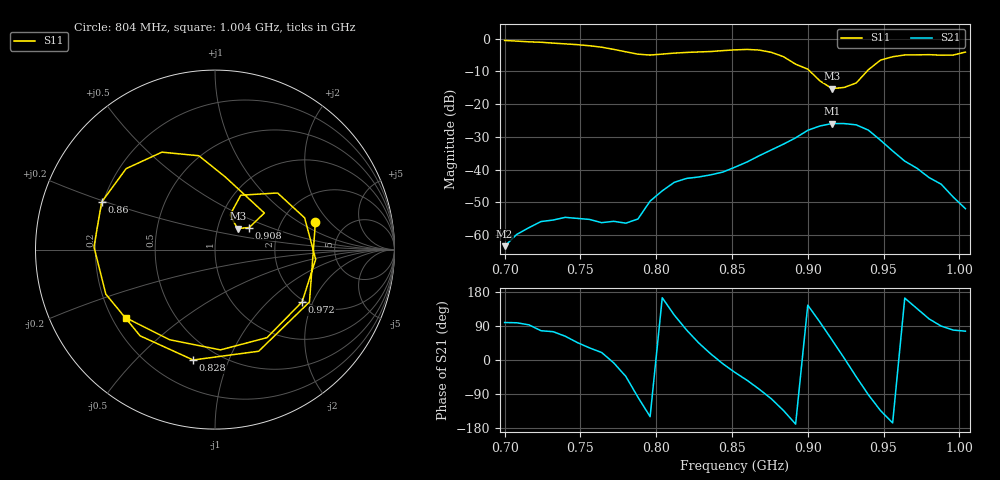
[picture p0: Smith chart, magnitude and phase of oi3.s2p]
# Hz S RI R 50
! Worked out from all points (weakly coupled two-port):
!   39 points, 700 MHz to 1.004 GHz, reference 50 ohm
!   highest |S21| = -25.92 dB at 916 MHz (marker M1); lowest = -63.4 dB at 700 MHz (marker M2)
!   lowest |S11| = -15.3 dB at 916 MHz (marker M3), VSWR 1.42, Z = 62.4 + j15.1 ohm
!   |S11| at or under -10 dB: 901.5 MHz to 939 MHz (37.45 MHz wide, 4.07 % of centre)
!   S12 and S22 are empty: the file has one direction only
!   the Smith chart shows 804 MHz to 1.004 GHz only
!   S11 on the Smith chart (normalised r, x): 804 MHz: 3.04, +1.42; 828 MHz: 0.37, -0.75; 860 MHz: 0.19, +0.19; 908 MHz: 1.42, +0.37; 972 MHz: 1.94, -1.67; 1.004 GHz: 0.26, -0.32
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7e8  0.76 0.5517  -0.000105 0.000668  0 0  0 0
7.24e8  0.8471 -0.2443  0.000355 0.00157  0 0  0 0
7.4e8  0.4545 -0.6977  0.000854 0.00166  0 0  0 0
7.56e8  -0.1886 -0.7566  0.00147 0.000918  0 0  0 0
7.72e8  -0.6572 -0.1964  0.00161 -0.000214  0 0  0 0
7.8e8  -0.588 0.2245  0.0011 -0.00104  0 0  0 0
7.88e8  -0.2374 0.5287  -0.000254 -0.00174  0 0  0 0
7.96e8  0.2463 0.5056  -0.00285 -0.00168  0 0  0 0
8.04e8  0.5598 0.1549  -0.00456 0.00128  0 0  0 0
8.2e8  0.2431 -0.5663  0.00135 0.0072  0 0  0 0
8.28e8  -0.1218 -0.615  0.00543 0.00548  0 0  0 0
8.52e8  -0.6743 0.0149  0.00915 -0.00592  0 0  0 0
8.6e8  -0.6314 0.2652  0.00776 -0.0105  0 0  0 0
8.84e8  -0.0897 0.5229  -0.0168 -0.0178  0 0  0 0
9e8  0.275 0.204  -0.0325 0.023  0 0  0 0
9.08e8  0.1907 0.1231  -0.00815 0.0456  0 0  0 0
9.16e8  0.1265 0.1175  0.0305 0.0403  0 0  0 0
9.4e8  0.1436 0.303  -0.00124 -0.0401  0 0  0 0
9.56e8  0.4993 0.1769  -0.0187 -0.00466  0 0  0 0
9.72e8  0.4853 -0.2912  -0.00754 0.00729  0 0  0 0
9.88e8  0.0306 -0.5586  5.54e-05 0.00599  0 0  0 0
1.004e9  -0.4947 -0.3808  0.000607 0.00246  0 0  0 0
